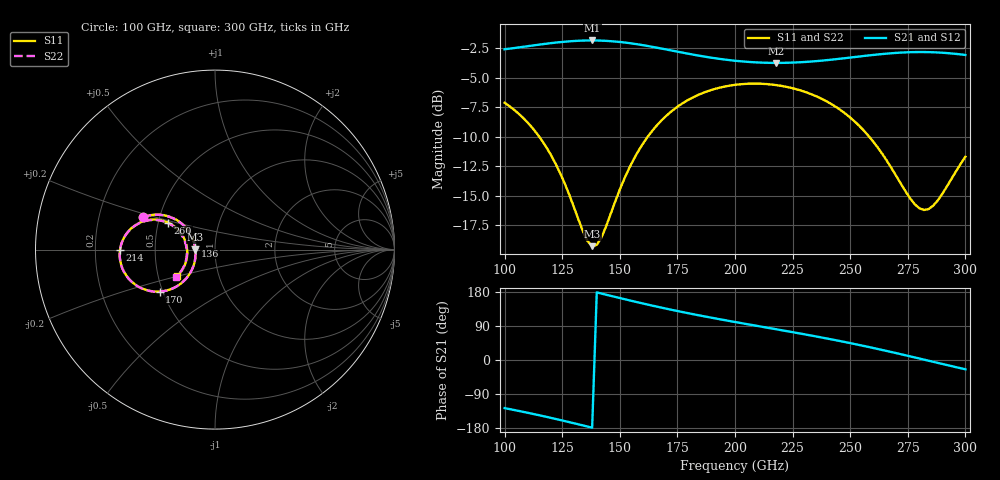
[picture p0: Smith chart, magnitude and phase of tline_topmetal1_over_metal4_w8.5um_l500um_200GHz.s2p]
#  GHZ S DB R 50
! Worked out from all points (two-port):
!   101 points, 100 GHz to 300 GHz, reference 50 ohm
!   highest |S21| = -1.82 dB at 138 GHz (marker M1); lowest = -3.7 dB at 218 GHz (marker M2)
!   |S21| within 3 dB of the highest: start of sweep to end of sweep
!   lowest |S11| = -19.3 dB at 138 GHz (marker M3), VSWR 1.24, Z = 40.2 + j0.00711 ohm
!   |S11| at or under -10 dB: 115.1 GHz to 162.1 GHz (47.01 GHz wide, 33.9 % of centre); 258.3 GHz to end of sweep
!   |S22| runs from -19.2 to -5.5 dB; largest |S21 - S12| = 8.1e-14
!   S11 on the Smith chart (normalised r, x): 100 GHz: 0.40, +0.18; 136 GHz: 0.80, +0.04; 170 GHz: 0.48, -0.26; 214 GHz: 0.31, -0.00; 260 GHz: 0.56, +0.19; 300 GHz: 0.62, -0.20
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100  -7.10 155.9  -2.57 -127.0  -2.57 -127.0  -7.10 156.0
118  -10.85 142.9  -2.10 -149.8  -2.10 -149.8  -10.84 143.1
126  -13.91 143.0  -1.93 -161.0  -1.93 -161.0  -13.90 143.2
134  -18.02 159.4  -1.83 -172.7  -1.83 -172.7  -17.99 159.6
136  -18.85 168.7  -1.82 -175.7  -1.82 -175.7  -18.81 168.9
138  -19.28 180.0  -1.82 -178.6  -1.82 -178.6  -19.24 -179.9
142  -18.55 -157.6  -1.83 175.4  -1.83 175.4  -18.52 -157.5
152  -13.54 -135.4  -1.99 160.6  -1.99 160.6  -13.53 -135.4
168  -8.62 -141.3  -2.50 138.3  -2.50 138.3  -8.62 -141.2
170  -8.24 -142.9  -2.58 135.6  -2.58 135.6  -8.24 -142.7
184  -6.44 -154.7  -3.10 118.3  -3.10 118.3  -6.44 -154.5
200  -5.59 -168.3  -3.54 100.3  -3.54 100.3  -5.58 -168.0
214  -5.53 -179.6  -3.71 85.3  -3.71 85.3  -5.52 -179.4
218  -5.61 177.2  -3.72 81.0  -3.72 81.0  -5.60 177.5
234  -6.45 164.8  -3.59 63.5  -3.59 63.5  -6.44 165.2
248  -8.04 155.2  -3.32 47.0  -3.32 47.0  -8.02 155.6
260  -10.40 150.1  -3.05 31.7  -3.05 31.7  -10.37 150.6
268  -12.67 151.8  -2.90 20.9  -2.90 20.9  -12.62 152.4
276  -15.21 163.5  -2.81 9.6  -2.81 9.6  -15.11 164.1
282  -16.20 -178.4  -2.80 1.0  -2.80 1.0  -16.07 -178.1
288  -15.39 -159.8  -2.84 -7.6  -2.84 -7.6  -15.28 -159.8
300  -11.68 -144.9  -3.05 -24.5  -3.05 -24.5  -11.63 -145.0
